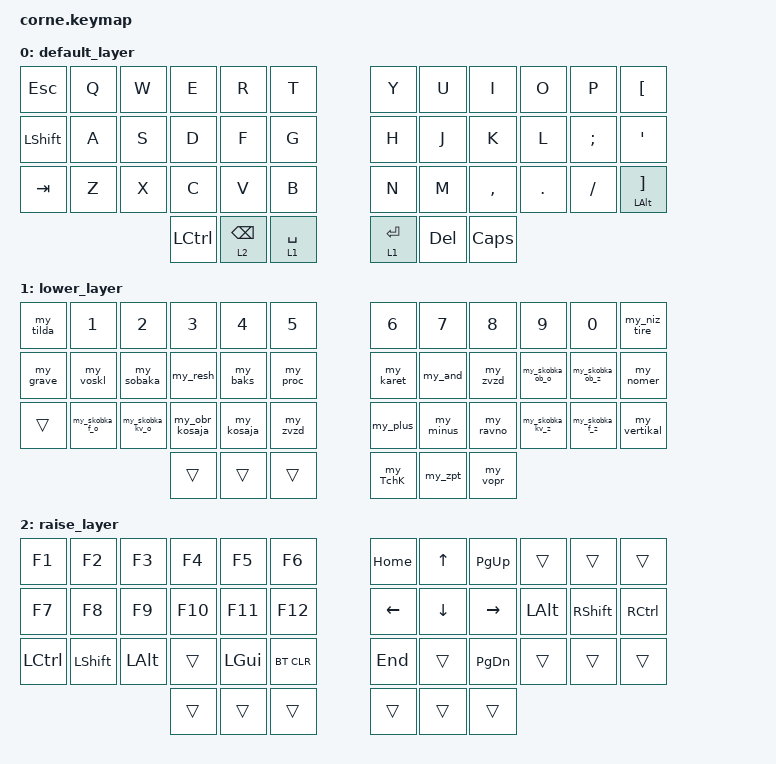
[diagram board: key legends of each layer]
/*
 * Copyright (c) 2020 The ZMK Contributors
 *
 * SPDX-License-Identifier: MIT
 */

// kate: syntax C;
#include <behaviors.dtsi>
#include <dt-bindings/zmk/bt.h>
#include <dt-bindings/zmk/keys.h>
#include "zmk-helpers/helper.h"


/ {

//+++++++++++++++++++++++++++++++++++++++++++++++++++++||
//              MACROS                                 ||
//+++++++++++++++++++++++++++++++++++++++++++++++++++++||
    macros {
    // Скобкиbb
        my_skobka_ob_o: my_skobka_ob_o {                                //   (
            compatible = "zmk,behavior-macro";
            #binding-cells = <0>;
            tap-ms = <10>;
            bindings = <&macro_tap &kp RALT &kp N9 &kp Q>;
        };
        my_skobka_ob_z: my_skobka_ob_z {                                //   )
            compatible = "zmk,behavior-macro";
            #binding-cells = <0>;
            tap-ms = <10>;
            bindings = <&macro_tap &kp RALT &kp N0 &kp Q>;
        };
        my_skobka_kv_o: my_skobka_kv_o {                                //   [
            compatible = "zmk,behavior-macro";
            #binding-cells = <0>;
            tap-ms = <10>;
            bindings = <&macro_tap &kp RALT &kp LEFT_BRACKET &kp Q>;
        };
        my_skobka_kv_z: my_skobka_kv_z {                                //   ]
            compatible = "zmk,behavior-macro";
            #binding-cells = <0>;
            tap-ms = <10>;
            bindings = <&macro_tap &kp RALT &kp RIGHT_BRACKET &kp Q>;
        };
        my_skobka_f_o: my_skobka_f_o {                                //   {
            compatible = "zmk,behavior-macro";
            #binding-cells = <0>;
            tap-ms = <10>;
            bindings = <&macro_tap &kp RALT &kp LEFT_BRACE &kp Q>;
        };
        my_skobka_f_z: my_skobka_f_z {                                //   }
            compatible = "zmk,behavior-macro";
            #binding-cells = <0>;
            tap-ms = <10>;
            bindings = <&macro_tap &kp RALT &kp RIGHT_BRACE &kp Q>;
        };

    // Знаки припенания
        my_TchK: my_TchK {                                            //   .
            compatible = "zmk,behavior-macro";
            #binding-cells = <0>;
            tap-ms = <10>;
            bindings = <&macro_tap &kp RALT &kp DOT &kp Q>;
        };
        my_zpt: my_zpt {                                              //   ,
            compatible = "zmk,behavior-macro";
            #binding-cells = <0>;
            tap-ms = <10>;
            bindings = <&macro_tap &kp RALT &kp COMMA &kp Q>;
        };
        my_vopr: my_vopr {                                           //   ?
            compatible = "zmk,behavior-macro";
            #binding-cells = <0>;
            tap-ms = <10>;
            bindings = <&macro_tap &kp RALT &kp QMARK &kp Q>;
        };
        my_voskl: my_voskl {                                        //   !
            compatible = "zmk,behavior-macro";
            #binding-cells = <0>;
            tap-ms = <10>;
            bindings = <&macro_tap &kp RALT &kp N1 &kp Q>;
        };

    // Кавычки
        my_odn_kov: my_odn_kov {                                    //   '
            compatible = "zmk,behavior-macro";
            #binding-cells = <0>;
            tap-ms = <10>;
            bindings = <&macro_tap &kp RALT &kp SQT &kp Q>;
        };
        my_dve_kov: my_dve_kov {                                     //   "
            compatible = "zmk,behavior-macro";
            #binding-cells = <0>;
            tap-ms = <10>;
            bindings = <&macro_tap &kp RALT &kp DQT &kp Q>;
        };

        // Математика
        my_plus: my_plus {                                           //   +
            compatible = "zmk,behavior-macro";
            #binding-cells = <0>;
            tap-ms = <10>;
            bindings = <&macro_tap &kp RALT &kp PLUS &kp Q>;
        };
        my_minus: my_minus {                                         //   -
            compatible = "zmk,behavior-macro";
            #binding-cells = <0>;
            tap-ms = <10>;
            bindings = <&macro_tap &kp RALT &kp MINUS &kp Q>;
        };
        my_ravno: my_ravno {                                         //   =
            compatible = "zmk,behavior-macro";
            #binding-cells = <0>;
            tap-ms = <10>;
            bindings = <&macro_tap &kp RALT &kp EQUAL &kp Q>;
        };

    // Спецсимволы
        my_and: my_and {                                             //   &
            compatible = "zmk,behavior-macro";
            #binding-cells = <0>;
            tap-ms = <10>;
            bindings = <&macro_tap &kp RALT &kp AMPS &kp Q>;
        };
        my_baks: my_baks {                                           //   $
            compatible = "zmk,behavior-macro";
            #binding-cells = <0>;
            tap-ms = <10>;
            bindings = <&macro_tap &kp RALT &kp DLLR &kp Q>;
        };
        my_menshe: my_menshe {                                       //   <
            compatible = "zmk,behavior-macro";
            #binding-cells = <0>;
            tap-ms = <10>;
            bindings = <&macro_tap &kp RALT &kp LT &kp Q>;
        };
        my_bolshe: my_bolshe {                                       //   >
            compatible = "zmk,behavior-macro";
            #binding-cells = <0>;
            tap-ms = <10>;
            bindings = <&macro_tap &kp RALT &kp GT &kp Q>;
        };
        my_resh: my_resh {                                           //   #
            compatible = "zmk,behavior-macro";
            #binding-cells = <0>;
            tap-ms = <10>;
            bindings = <&macro_tap &kp RALT &kp HASH &kp Q>;
        };
        my_zvzd: my_zvzd {                                           //   *
            compatible = "zmk,behavior-macro";
            #binding-cells = <0>;
            tap-ms = <10>;
            bindings = <&macro_tap &kp RALT &kp STAR &kp Q>;
        };
        my_sobaka: my_sobaka {                                        //  @
            compatible = "zmk,behavior-macro";
            #binding-cells = <0>;
            tap-ms = <10>;
            bindings = <&macro_tap &kp RALT &kp A &kp T>;
        };

    // Слэши
        my_obr_kosaja: my_obr_kosaja {                                //   \   /
            compatible = "zmk,behavior-macro";
            #binding-cells = <0>;
            tap-ms = <10>;
            bindings = <&macro_tap &kp RALT &kp BSLH &kp Q>;
        };
        my_kosaja: my_kosaja {                                        //   /
            compatible = "zmk,behavior-macro";
            #binding-cells = <0>;
            tap-ms = <10>;
            bindings = <&macro_tap &kp RALT &kp FSLH &kp Q>;
        };
        my_vertikal: my_vertikal {                                    //  |
            compatible = "zmk,behavior-macro";
            #binding-cells = <0>;
            tap-ms = <10>;
            bindings = <&macro_tap &kp RALT &kp PIPE &kp Q>;
        };

    // Дополнительные
        my_tilda: my_tilda {                                           //   ~
            compatible = "zmk,behavior-macro";
            #binding-cells = <0>;
            tap-ms = <10>;
            bindings = <&macro_tap &kp RALT &kp TILDE &kp Q>;
        };
        my_grave: my_grave {                                           //   `
            compatible = "zmk,behavior-macro";
            #binding-cells = <0>;
            tap-ms = <10>;
            bindings = <&macro_tap &kp RALT &kp GRAVE &kp Q>;
        };
        my_proc: my_proc {                                            //  %
            compatible = "zmk,behavior-macro";
            #binding-cells = <0>;
            tap-ms = <10>;
            bindings = <&macro_tap &kp RALT &kp PRCNT &kp Q>;
        };
        my_karet: my_karet {                                          //   ^
            compatible = "zmk,behavior-macro";
            #binding-cells = <0>;
            tap-ms = <10>;
            bindings = <&macro_tap &kp RALT &kp CARET &kp Q>;
        };
        my_niz_tire: my_niz_tire {                                    //   _
            compatible = "zmk,behavior-macro";
            #binding-cells = <0>;
            tap-ms = <10>;
            bindings = <&macro_tap &kp RALT &kp UNDER &kp Q>;
        };
        my_nomer: my_nomer {                                          //  №
            compatible = "zmk,behavior-macro";
            #binding-cells = <0>;
            tap-ms = <10>;
            bindings = <&macro_tap &kp RALT &kp HASH &kp HASH &kp Q>;
        };
    };


//+++++++++++++++++++++++++++++++++++++++++++++++++++++++||
//          COMBOS                                       ||
//+++++++++++++++++++++++++++++++++++++++++++++++++++++++||

    combos {
        compatible = "zmk,combos";

//===Скобки=======================
        combo_skobka_ob_o {                              //    (
            timeout-ms = <30>;
            key-positions = <4 5>;
            bindings = <&my_skobka_ob_o>;
            layers = <0>;
            require-prior-idle-ms = <150>;
        };
        combo_skobka_ob_z {                              //     )
            timeout-ms = <30>;
            key-positions = <6 7>;
            bindings = <&my_skobka_ob_z>;
            layers = <0>;
            require-prior-idle-ms = <150>;
        };
        combo_skobka_kv_o {                              //     [
            timeout-ms = <30>;
            key-positions = <16 17>;
            bindings = <&my_skobka_kv_o>;
            layers = <0>;
            require-prior-idle-ms = <150>;
        };
        combo_skobka_kv_z {                              //     ]
            timeout-ms = <30>;
            key-positions = <18 19>;
            bindings = <&my_skobka_kv_z>;
            layers = <0>;
            require-prior-idle-ms = <150>;
        };
        combo_skobka_f_o {                               //     {
            timeout-ms = <30>;
            key-positions = <28 29>;
            bindings = <&my_skobka_f_o>;
            layers = <0>;
            require-prior-idle-ms = <150>;
        };
        combo_skobka_f_z {                               //     }
            timeout-ms = <30>;
            key-positions = <30 31>;
            bindings = <&my_skobka_f_z>;
            layers = <0>;
            require-prior-idle-ms = <150>;
        };
//===Препинание=====================
        combo_zpt {                                      //     ,
            timeout-ms = <30>;
            key-positions = <19 20>;
            bindings = <&my_zpt>;
            layers = <0>;
            require-prior-idle-ms = <150>;
        };
        combo_TchK {                                     //     .
            timeout-ms = <30>;
            key-positions = <20 21>;
            bindings = <&my_TchK>;
            layers = <0>;
            require-prior-idle-ms = <150>;
        };
        combo_vopr {                                     //     ?
            timeout-ms = <30>;
            key-positions = <15 16>;
            bindings = <&my_vopr>;
            layers = <0>;
            require-prior-idle-ms = <150>;
        };
        combo_voskl {                                    //     !
            timeout-ms = <30>;
            key-positions = <14 15>;
            bindings = <&my_voskl>;
            layers = <0>;
            require-prior-idle-ms = <150>;
        };
//===   ============================
        combo_odn_kov {                                  //     '
            timeout-ms = <30>;
            key-positions = <27 28>;
            bindings = <&my_odn_kov>;
            layers = <0>;
            require-prior-idle-ms = <150>;
        };
        combo_dve_kov {                                  //     "
            timeout-ms = <30>;
            key-positions = <31 32>;
            bindings = <&my_dve_kov>;
            layers = <0>;
            require-prior-idle-ms = <150>;
        };
        combo_plus {                                     //     +
            timeout-ms = <30>;
            key-positions = <2 3>;
            bindings = <&my_plus>;
            layers = <0>;
            require-prior-idle-ms = <150>;
        };
        combo_minus {                                    //     -
            timeout-ms = <30>;
            key-positions = <3 4>;
            bindings = <&my_minus>;
            layers = <0>;
            require-prior-idle-ms = <150>;
        };
        combo_and {                                      //     &
            timeout-ms = <30>;
            key-positions = <7 8>;
            bindings = <&my_and>;
            layers = <0>;
            require-prior-idle-ms = <150>;
        };
        combo_baks {                                     //     $
            timeout-ms = <30>;
            key-positions = <8 9>;
            bindings = <&my_baks>;
            layers = <0>;
            require-prior-idle-ms = <150>;
        };
        combo_menshe {                                   //     <
            timeout-ms = <30>;
            key-positions = <26 27>;
            bindings = <&my_menshe>;
            layers = <0>;
            require-prior-idle-ms = <150>;
        };
        combo_bolshe {                                   //     >
            timeout-ms = <30>;
            key-positions = <32 33>;
            bindings = <&my_bolshe>;
            layers = <0>;
            require-prior-idle-ms = <150>;
        };
        combo_resh {                                     //     #
            timeout-ms = <30>;
            key-positions = <1 2>;
            bindings = <&my_resh>;
            layers = <0>;
            require-prior-idle-ms = <150>;
        };
        combo_zvzd {                                     //     *
            timeout-ms = <30>;
            key-positions = <13 14>;
            bindings = <&my_zvzd>;
            layers = <0>;
            require-prior-idle-ms = <150>;
        };
        combo_sobaka {                                   //     @
            timeout-ms = <30>;
            key-positions = <25 26>;
            bindings = <&my_sobaka>;
            layers = <0>;
            require-prior-idle-ms = <150>;
        };
        combo_obr_kosaja {                               //     "\"
            timeout-ms = <30>;
            key-positions = <9 10>;
            bindings = <&my_obr_kosaja>;
            layers = <0>;
            require-prior-idle-ms = <150>;
        };
        combo_kosaja {                                   //     /
            timeout-ms = <30>;
            key-positions = <21 22>;
            bindings = <&my_kosaja>;
            layers = <0>;
            require-prior-idle-ms = <150>;
        };
        combo_vertikal {                                 //     |
            timeout-ms = <30>;
            key-positions = <33 34>;
            bindings = <&my_vertikal>;
            layers = <0>;
            require-prior-idle-ms = <150>;
        };



    };
//===============================================================================================





    keymap {
        compatible = "zmk,keymap";

        default_layer {
            // -----------------------------------------------------------------------------------------
            // |  TAB |  Q  |  W  |  E  |  R  |  T  |   |  Y  |  U   |  I  |  O  |  P  | BSPC |
            // | CTRL |  A  |  S  |  D  |  F  |  G  |   |  H  |  J   |  K  |  L  |  ;  |  '   |
            // | SHFT |  Z  |  X  |  C  |  V  |  B  |   |  N  |  M   |  ,  |  .  |  /  | ESC  |
            //                    | GUI | LWR | SPC |   | ENT | RSE  | ALT |

            bindings = <
&kp ESC         &kp Q  &kp W  &kp E      &kp R            &kp T                 &kp Y        &kp U      &kp I         &kp O    &kp P      &kp LEFT_BRACKET
&kp LEFT_SHIFT  &kp A  &kp S  &kp D      &kp F            &kp G                 &kp H        &kp J      &kp K         &kp L    &kp SEMI   &kp SQT
&kp TAB         &kp Z  &kp X  &kp C      &kp V            &kp B                 &kp N        &kp M      &kp COMMA     &kp DOT  &kp SLASH  &mt LEFT_ALT RIGHT_BRACKET
                              &kp LCTRL  &lt 2 BACKSPACE  &lt 1 SPACE           &lt 1 RET    &kp DEL    &kp CAPSLOCK
            >;
        };

        lower_layer {
            // -----------------------------------------------------------------------------------------
            // |  TAB |  1  |  2  |  3  |  4  |  5  |   |  6  |  7  |  8  |  9  |  0  | BSPC |
            // | BTCLR| BT1 | BT2 | BT3 | BT4 | BT5 |   | LFT | DWN |  UP | RGT |     |      |
            // | SHFT |     |     |     |     |     |   |     |     |     |     |     |      |
            //                    | GUI |     | SPC |   | ENT |     | ALT |

            bindings = <
&my_tilda  &kp N1          &kp N2           &kp N3          &kp N4      &kp N5           &kp N6     &kp N7     &kp N8     &kp N9           &kp N0           &my_niz_tire
&my_grave  &my_voskl       &my_sobaka       &my_resh        &my_baks    &my_proc         &my_karet  &my_and    &my_zvzd   &my_skobka_ob_o  &my_skobka_ob_z  &my_nomer
&trans     &my_skobka_f_o  &my_skobka_kv_o  &my_obr_kosaja  &my_kosaja  &my_zvzd         &my_plus   &my_minus  &my_ravno  &my_skobka_kv_z  &my_skobka_f_z   &my_vertikal
                                            &trans          &trans      &trans           &my_TchK   &my_zpt    &my_vopr
            >;
        };

        raise_layer {
            // -----------------------------------------------------------------------------------------
            // |  TAB |  !  |  @  |  #  |  $  |  %  |   |  ^  |  &  |  *  |  (  |  )  | BSPC |
            // | CTRL |     |     |     |     |     |   |  -  |  =  |  [  |  ]  |  \  |  `   |
            // | SHFT |     |     |     |     |     |   |  _  |  +  |  {  |  }  | "|" |  ~   |
            //                    | GUI |     | SPC |   | ENT |     | ALT |

            bindings = <
&kp F1     &kp F2           &kp F3        &kp F4   &kp F5    &kp F6         &kp HOME  &kp UP    &kp PG_UP  &trans         &trans           &trans
&kp F7     &kp F8           &kp F9        &kp F10  &kp F11   &kp F12        &kp LEFT  &kp DOWN  &kp RIGHT  &kp LEFT_ALT  &kp RIGHT_SHIFT  &kp RCTRL
&kp LCTRL  &kp LEFT_SHIFT   &kp LEFT_ALT  &trans   &kp LGUI  &bt BT_CLR     &kp END   &trans    &kp PG_DN  &trans         &trans           &trans
                                          &trans   &trans    &trans         &trans    &trans    &trans
            >;
        };
    };
};
